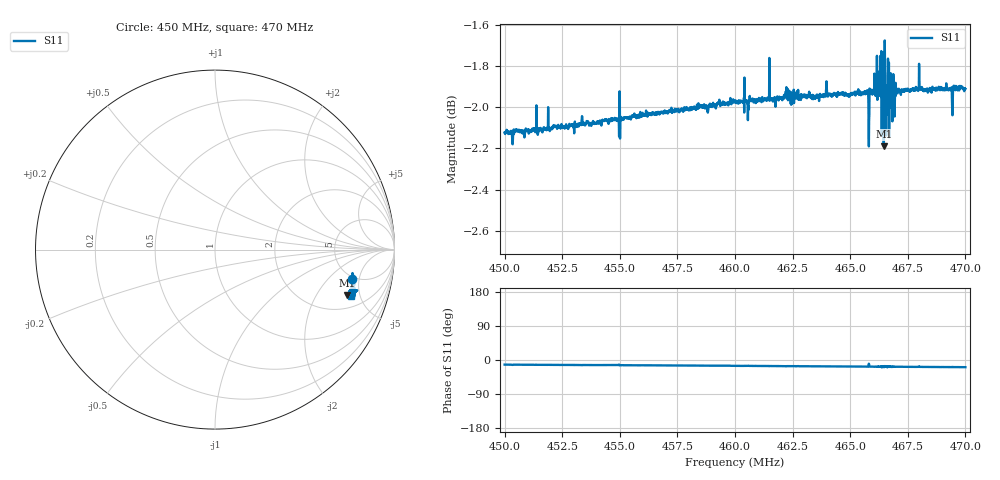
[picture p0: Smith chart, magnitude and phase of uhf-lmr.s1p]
! Calibrated averaged scanner-service zoom
# Hz S RI R 50
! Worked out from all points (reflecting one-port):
!   2001 points, 450 MHz to 470 MHz, reference 50 ohm
!   lowest |S11| = -2.2 dB at 466.46 MHz (marker M1), VSWR 7.97, Z = 147 - j188 ohm
!   phase of S11 starts at -12 deg and turns -7 deg over the sweep
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4.5e8  0.7655 -0.1656
4.525e8  0.7654 -0.1765
4.55e8  0.7729 -0.1955
4.5509e8  0.7663 -0.1872
4.575e8  0.7672 -0.1988
4.6e8  0.7684 -0.2108
4.6038e8  0.768 -0.2147
4.6061e8  0.7683 -0.2139
4.6226e8  0.7676 -0.2228
4.625e8  0.7648 -0.2228
4.65e8  0.7637 -0.2362
4.6568e8  0.7641 -0.2395
4.6573e8  0.7649 -0.24
4.6589e8  0.7633 -0.2412
4.6594e8  0.7636 -0.2402
4.6626e8  0.7641 -0.2418
4.6634e8  0.7615 -0.2426
4.6639e8  0.7519 -0.2629
4.6642e8  0.7668 -0.2317
4.6646e8  0.7348 -0.2529
4.665e8  0.7928 -0.2266
4.6654e8  0.7547 -0.2234
4.666e8  0.7583 -0.2533
4.6663e8  0.7546 -0.2369
4.667e8  0.7626 -0.2392
4.6672e8  0.771 -0.234
4.675e8  0.7632 -0.2484
4.7e8  0.759 -0.2606
